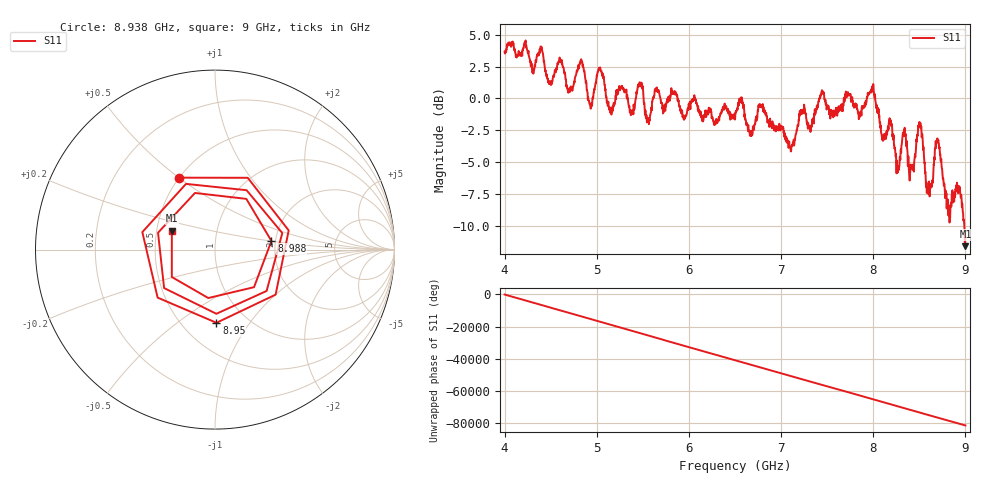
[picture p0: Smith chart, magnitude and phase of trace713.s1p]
! Created with skrf 1.8.0 (http://scikit-rf.org).
# Hz S RI R 50.0
!freq ReS11 ImS11
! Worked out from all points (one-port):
!   1601 points, 4 GHz to 9 GHz, reference 50 ohm
!   lowest |S11| = -11.6 dB at 9 GHz (marker M1), VSWR 1.71, Z = 30 + j6.81 ohm
!   |S11| at or under -10 dB: 8.988331 GHz to end of sweep
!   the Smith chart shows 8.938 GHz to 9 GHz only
!   S11 on the Smith chart (normalised r, x): 8.938 GHz: 0.50, +0.50; 8.95 GHz: 0.73, -0.71; 8.988 GHz: 1.90, +0.20; 9 GHz: 0.60, +0.14
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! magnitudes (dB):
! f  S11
! 4 GHz  3.7
! 4.625 GHz  2.8
! 4.709 GHz  0.8
! 4.841 GHz  2.9
! 4.928 GHz  -0.5
! 5.031 GHz  2.3
! 5.144 GHz  -1.1
! 5.25 GHz  0.6
! 5.381 GHz  -1.2
! 5.478 GHz  1.2
! 5.556 GHz  -1.5
! 5.875 GHz  0.1
! 6.5 GHz  -1.7
! 7.125 GHz  -3.6
! 7.441 GHz  0.5
! 7.75 GHz  0.3
! 7.994 GHz  0.6
! 8.262 GHz  -5.7
! 8.331 GHz  -3.0
! 8.375 GHz  -5.3
! 8.509 GHz  -2.1
! 8.597 GHz  -7.5
! 8.694 GHz  -3.2
! 8.812 GHz  -8.6
! 8.938 GHz  -7.0
! 8.95 GHz  -7.8
! 8.988 GHz  -9.9
! 9 GHz  -11.6
